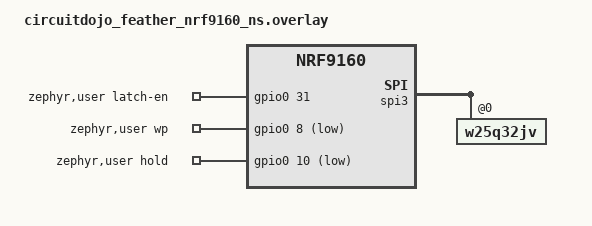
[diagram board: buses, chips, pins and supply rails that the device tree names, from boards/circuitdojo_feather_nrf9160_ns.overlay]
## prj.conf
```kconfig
# Stacks and heaps
CONFIG_MAIN_STACK_SIZE=4096
CONFIG_HEAP_MEM_POOL_SIZE=16384

CONFIG_DEBUG=n

# Add the accelerometer
CONFIG_I2C=y
CONFIG_SENSOR=y
CONFIG_LIS2DH=y
CONFIG_LIS2DH_TRIGGER_GLOBAL_THREAD=y
CONFIG_LIS2DH_ODR_RUNTIME=y

# SPI Flash
CONFIG_SPI=y
CONFIG_SPI_NOR=y
CONFIG_SPI_NOR_FLASH_LAYOUT_PAGE_SIZE=4096
CONFIG_SPI_NOR_IDLE_IN_DPD=y

# Enable flash operations.
CONFIG_FLASH=y
CONFIG_FLASH_MAP=y
CONFIG_FLASH_PAGE_LAYOUT=y

CONFIG_LOG=y
CONFIG_LOG_PRINTK=y

# Zephyr Device Power Management
CONFIG_PM_DEVICE=y

# Network
CONFIG_NETWORKING=y
CONFIG_NET_SOCKETS=y
CONFIG_NET_NATIVE=n

# LTE link control
CONFIG_LTE_LINK_CONTROL=y

# Modem library
CONFIG_NRF_MODEM_LIB=y

# PSM & eDRX enable
CONFIG_LTE_EDRX_REQ=y
CONFIG_LTE_PSM_REQ=y

# Async
CONFIG_UART_ASYNC_API=y
CONFIG_UART_LINE_CTRL=y
```

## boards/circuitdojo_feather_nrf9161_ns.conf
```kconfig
CONFIG_REGULATOR=y
CONFIG_REGULATOR_NPM1300=y
```

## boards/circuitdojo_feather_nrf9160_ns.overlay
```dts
/*
 * Copyright (c) 2020 Circuit Dojo LLC
 *
 * SPDX-License-Identifier: Apache-2.0
 */

/ {
    zephyr,user {
        latch-en-gpios = <&gpio0 31 GPIO_ACTIVE_HIGH>;
        wp-gpios = <&gpio0 8 GPIO_ACTIVE_LOW>;
        hold-gpios = <&gpio0 10 GPIO_ACTIVE_LOW>;
    };
};

&gpio0 {
    sense-edge-mask = <0xffff>;
};

&spi3 {
    w25q32jv: w25q32jv@0 {
        /delete-property/ wp-gpios;
        /delete-property/ hold-gpios;
        t-enter-dpd = <3500>;
        t-exit-dpd = <3500>;
    };
};
```

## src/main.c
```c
/*
 * Copyright (c) 2022 Circuit Dojo LLC
 *
 * SPDX-License-Identifier: Apache-2.0
 */

#include <sys/errno.h>
#include <zephyr/devicetree.h>
#include <zephyr/drivers/gpio.h>
#include <zephyr/drivers/i2c.h>
#include <zephyr/drivers/mfd/npm1300.h>
#include <zephyr/drivers/regulator.h>
#include <zephyr/drivers/sensor.h>
#include <zephyr/drivers/uart.h>
#include <zephyr/kernel.h>
#include <zephyr/logging/log.h>
#include <zephyr/pm/device.h>
LOG_MODULE_REGISTER(main);

#include <modem/lte_lc.h>
#include <modem/nrf_modem_lib.h>

/* Addresses */
#define NPM1300_BUCK_BASE 0x04U
#define NPM1300_BUCK_OFFSET_EN_CLR 0x01U
#define NPM1300_BUCK_BUCKCTRL0 0x15U
#define NPM1300_BUCK_STATUS 0x34U

/* Bits */
#define NPM1300_BUCK2_MODE_BIT BIT(0)
#define NPM1300_BUCK2_PULLDOWN_EN BIT(3)

/* Gpios */
static const struct gpio_dt_spec sw0 = GPIO_DT_SPEC_GET(DT_ALIAS(sw0), gpios);
#if defined(CONFIG_BOARD_CIRCUITDOJO_FEATHER_NRF9160)
static const struct gpio_dt_spec led0 = GPIO_DT_SPEC_GET(DT_ALIAS(led0), gpios);
static const struct gpio_dt_spec latch_en =
    GPIO_DT_SPEC_GET(DT_PATH(zephyr_user), latch_en_gpios);

static const struct gpio_dt_spec wp =
    GPIO_DT_SPEC_GET(DT_PATH(zephyr_user), wp_gpios);
static const struct gpio_dt_spec hold =
    GPIO_DT_SPEC_GET(DT_PATH(zephyr_user), hold_gpios);
#endif

#if IS_ENABLED(CONFIG_REGULATOR_NPM1300)
static const struct device *buck2 = DEVICE_DT_GET(DT_NODELABEL(npm1300_buck2));
#endif

static void setup_accel(void)
{
  const struct device *sensor = DEVICE_DT_GET(DT_ALIAS(accel0));

  if (!device_is_ready(sensor))
  {
    LOG_ERR("Could not get accel0 device");
    return;
  }

  // Disable the device
  struct sensor_value odr = {
      .val1 = 0,
  };

  int rc = sensor_attr_set(sensor, SENSOR_CHAN_ACCEL_XYZ,
                           SENSOR_ATTR_SAMPLING_FREQUENCY, &odr);
  if (rc != 0)
  {
    LOG_ERR("Failed to set odr: %d", rc);
    return;
  }
}

static int setup_gpio(void)
{

  gpio_pin_configure_dt(&sw0, GPIO_DISCONNECTED);
#if defined(CONFIG_BOARD_CIRCUITDOJO_FEATHER_NRF9160)
  gpio_pin_configure_dt(&led0, GPIO_DISCONNECTED);
  gpio_pin_configure_dt(&latch_en, GPIO_DISCONNECTED);

  gpio_pin_configure_dt(&wp, GPIO_INPUT | GPIO_PULL_UP);
  gpio_pin_configure_dt(&hold, GPIO_INPUT | GPIO_PULL_UP);
#endif

  return 0;
}

int setup_uart()
{

  static const struct device *const console_dev =
      DEVICE_DT_GET(DT_CHOSEN(zephyr_console));

  /* Disable console UART */
  int err = pm_device_action_run(console_dev, PM_DEVICE_ACTION_SUSPEND);
  if (err < 0)
  {
    LOG_ERR("Unable to suspend console UART. (err: %d)", err);
    return err;
  }

  /* Turn off to save power */
  NRF_CLOCK->TASKS_HFCLKSTOP = 1;

  return 0;
}

static int setup_pmic()
{

#if defined(CONFIG_BOARD_CIRCUITDOJO_FEATHER_NRF9161)
  int err;

  /* Get pmic */
  static const struct device *pmic = DEVICE_DT_GET(DT_NODELABEL(npm1300_pmic));
  if (!pmic)
  {
    LOG_ERR("Failed to get PMIC device\n");
    return -ENODEV;
  }

  /* Disable if not already disabled */
  if (regulator_is_enabled(buck2))
  {
    err = regulator_disable(buck2);
    if (err < 0)
    {
      LOG_ERR("Failed to disable buck2: %d", err);
      return err;
    }
  }

  uint8_t reg = 0;

  /* See if pulldown is not already enabled */
  err = mfd_npm1300_reg_read(pmic, NPM1300_BUCK_BASE, NPM1300_BUCK_BUCKCTRL0,
                             &reg);
  if (err < 0)
    LOG_ERR("Failed to set VBUSINLIM. Err: %d", err);

  if ((reg & (NPM1300_BUCK2_PULLDOWN_EN)) == 0)
  {

    /* Write to MFD to enable pulldown for BUCK2 */
    err = mfd_npm1300_reg_write(pmic, NPM1300_BUCK_BASE, NPM1300_BUCK_BUCKCTRL0,
                                NPM1300_BUCK2_PULLDOWN_EN);
    if (err < 0)
      LOG_ERR("Failed to set VBUSINLIM. Err: %d", err);
  }

#endif

  return 0;
}

int nor_storage_init(void)
{

  static const struct device *spi_nor = DEVICE_DT_GET(DT_ALIAS(ext_flash));

  /* Disable external flash */
  int err = pm_device_action_run(spi_nor, PM_DEVICE_ACTION_SUSPEND);
  if (err < 0)
  {
    LOG_ERR("Unable to suspend SPI NOR flash. (err: %d)", err);
    return err;
  }

  return 0;
}

int main(void)
{
  int err = 0;

  LOG_INF("Active Sleep Sample");

  /* Setup GPIO */
  setup_gpio();

  /* Disable accel */
  setup_accel();

  /* Init NOR */
  nor_storage_init();

  /* Init modem */
  err = nrf_modem_lib_init();
  if (err < 0)
    LOG_ERR("Unable to initialize nRF Modem lib. Err: %i", err);

  /* Peripherals */
  setup_uart();

  /* Disable regulator */
  setup_pmic();

  return 0;
}
```
